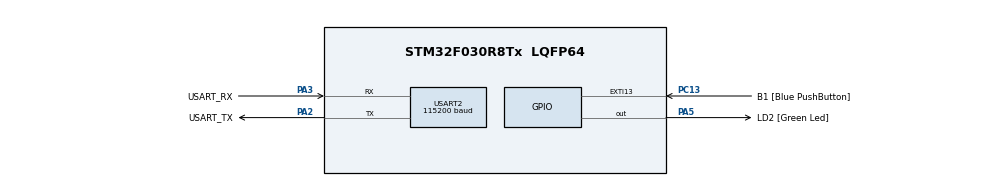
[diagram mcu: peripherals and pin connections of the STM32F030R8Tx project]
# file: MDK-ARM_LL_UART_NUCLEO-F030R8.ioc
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Mcu.Family=STM32F0
Mcu.Name=STM32F030R8Tx
Mcu.Package=LQFP64
NVIC.USART2_IRQn=true\:0\:0\:false\:false\:true\:true\:true
PA13.GPIO_Label=TMS
PA13.Mode=Serial_Wire
PA13.Signal=SYS_SWDIO
PA14.GPIO_Label=TCK
PA14.Mode=Serial_Wire
PA14.Signal=SYS_SWCLK
PA2.GPIO_Label=USART_TX
PA2.GPIO_Mode=GPIO_MODE_AF_PP
PA2.GPIO_PuPd=GPIO_NOPULL
PA2.GPIO_Speed=GPIO_SPEED_FREQ_LOW
PA2.Mode=Asynchronous
PA2.Signal=USART2_TX
PA3.GPIO_Label=USART_RX
PA3.GPIO_Mode=GPIO_MODE_AF_PP
PA3.GPIO_PuPd=GPIO_NOPULL
PA3.GPIO_Speed=GPIO_SPEED_FREQ_LOW
PA3.Mode=Asynchronous
PA3.Signal=USART2_RX
PA5.GPIO_Label=LD2 [Green Led]
PA5.GPIO_Mode=GPIO_MODE_OUTPUT_PP
PA5.GPIO_PuPd=GPIO_NOPULL
PA5.GPIO_Speed=GPIO_SPEED_FREQ_LOW
PA5.Signal=GPIO_Output
PC13.GPIO_Label=B1 [Blue PushButton]
PC13.GPIO_ModeDefaultEXTI=GPIO_MODE_IT_FALLING
PC13.Signal=GPXTI13
PC14-OSC32_IN.Mode=LSE-External-Oscillator
PC14-OSC32_IN.Signal=RCC_OSC32_IN
PC15-OSC32_OUT.Mode=LSE-External-Oscillator
PC15-OSC32_OUT.Signal=RCC_OSC32_OUT
PF0-OSC_IN.Mode=HSE-External-Clock-Source
PF0-OSC_IN.Signal=RCC_OSC_IN
PF1-OSC_OUT.Signal=RCC_OSC_OUT
ProjectManager.HeapSize=0x200
ProjectManager.StackSize=0x400
ProjectManager.TargetToolchain=MDK-ARM V5.27
RCC.AHBFreq_Value=48000000
RCC.APB1Freq_Value=48000000
RCC.APB1TimFreq_Value=48000000
RCC.HCLKFreq_Value=48000000
RCC.PLLMUL=RCC_PLL_MUL12
RCC.SYSCLKFreq_VALUE=48000000
RCC.SYSCLKSource=RCC_SYSCLKSOURCE_PLLCLK
USART2.BaudRate=115200
USART2.VirtualMode-Asynchronous=VM_ASYNC
board=NUCLEO-F030R8

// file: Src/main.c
/* USER CODE BEGIN Header */
/**
  ******************************************************************************
  * @file           : main.c
  * @brief          : Main program body
  ******************************************************************************
  * @attention
  *
  * <h2><center>&copy; Copyright (c) 2020 STMicroelectronics.
  * All rights reserved.</center></h2>
  *
  * This software component is licensed by ST under BSD 3-Clause license,
  * the "License"; You may not use this file except in compliance with the
  * License. You may obtain a copy of the License at:
  *                        opensource.org/licenses/BSD-3-Clause
  *
  ******************************************************************************
  */
/* USER CODE END Header */

#include "main.h"

/* USER CODE BEGIN Includes */
#include "trice.h"
/* USER CODE END Includes */

void SystemClock_Config(void);
static void MX_GPIO_Init(void);
static void MX_USART2_UART_Init(void);

int main(void)
{
  /* USER CODE BEGIN 1 */
#ifdef ENCRYPT
    InitXteaTable();
#endif
  /* USER CODE END 1 */

  /* MCU Configuration--------------------------------------------------------*/

  /* Reset of all peripherals, Initializes the Flash interface and the Systick. */

  LL_APB1_GRP2_EnableClock(LL_APB1_GRP2_PERIPH_SYSCFG);
  LL_APB1_GRP1_EnableClock(LL_APB1_GRP1_PERIPH_PWR);

  /* System interrupt init*/

  /* Configure the system clock */
  SystemClock_Config();

  /* USER CODE BEGIN SysInit */
    SysTick->CTRL |= SysTick_CTRL_TICKINT_Msk; // enable SysTick interrupt
  /* USER CODE END SysInit */

  /* Initialize all configured peripherals */
  MX_GPIO_Init();
  MX_USART2_UART_Init();
  /* USER CODE BEGIN 2 */
    LL_USART_EnableIT_RXNE(USART2); // enable UART2 interrupt
  /* USER CODE END 2 */

  /* Infinite loop */
  /* USER CODE BEGIN WHILE */
    TRICE16_1( Id(65439), "TIM:timing      message, SysTick is %6d\n", SYSTICKVAL16 );
    TRICE0( Id(17147), "att:MDK-ARM_LL_UART_NUCLEO-F030R8\n" );
    TRICE16_1( Id(65439), "TIM:timing      message, SysTick is %6d\n", SYSTICKVAL16 );
    TRICE16_1( Id(65439), "TIM:timing      message, SysTick is %6d\n", SYSTICKVAL16 );
    TRICE16_1( Id(65439), "TIM:timing      message, SysTick is %6d\n", SYSTICKVAL16 );
    TRICE16_1( Id(65439), "TIM:timing      message, SysTick is %6d\n", SYSTICKVAL16 );
    while (1)
    {
      //////////////////////////////////////////////////
      // demo trices
      //
      static uint32_t ms_1 = 0;
      if( ms >= ms_1 + 1000 ){ // every sec
          static int index = 0;
          triceCheckSet(index++%20);
          TRICE32_1( Id(25382), "time:ms = %d\n", ms );
          LL_GPIO_TogglePin(LD2_GPIO_Port, LD2_Pin);
          ms_1 = ms;
      }
      //
      //////////////////////////////////////////////////

      //////////////////////////////////////////////////
      // needed background activity
      //
        #ifdef LL_INTERFACE_NO_INTERRUPTS
        triceServe();
        #endif
      //
      //////////////////////////////////////////////////
    /* USER CODE END WHILE */

  }
}

void SystemClock_Config(void)
{
  LL_FLASH_SetLatency(LL_FLASH_LATENCY_1);

  if(LL_FLASH_GetLatency() != LL_FLASH_LATENCY_1)
  {
  Error_Handler();
  }
  LL_RCC_HSI_Enable();

   /* Wait till HSI is ready */
  while(LL_RCC_HSI_IsReady() != 1)
  {

  }
  LL_RCC_HSI_SetCalibTrimming(16);
  LL_RCC_PLL_ConfigDomain_SYS(LL_RCC_PLLSOURCE_HSI_DIV_2, LL_RCC_PLL_MUL_12);
  LL_RCC_PLL_Enable();

   /* Wait till PLL is ready */
  while(LL_RCC_PLL_IsReady() != 1)
  {

  }
  LL_RCC_SetAHBPrescaler(LL_RCC_SYSCLK_DIV_1);
  LL_RCC_SetAPB1Prescaler(LL_RCC_APB1_DIV_1);
  LL_RCC_SetSysClkSource(LL_RCC_SYS_CLKSOURCE_PLL);

   /* Wait till System clock is ready */
  while(LL_RCC_GetSysClkSource() != LL_RCC_SYS_CLKSOURCE_STATUS_PLL)
  {

  }
  LL_Init1msTick(48000000);
  LL_SetSystemCoreClock(48000000);
}

static void MX_USART2_UART_Init(void)
{

  LL_USART_InitTypeDef USART_InitStruct = {0};

  LL_GPIO_InitTypeDef GPIO_InitStruct = {0};

  /* Peripheral clock enable */
  LL_APB1_GRP1_EnableClock(LL_APB1_GRP1_PERIPH_USART2);

  LL_AHB1_GRP1_EnableClock(LL_AHB1_GRP1_PERIPH_GPIOA);
  /**USART2 GPIO Configuration
  PA2   ------> USART2_TX
  PA3   ------> USART2_RX
  */
  GPIO_InitStruct.Pin = USART_TX_Pin;
  GPIO_InitStruct.Mode = LL_GPIO_MODE_ALTERNATE;
  GPIO_InitStruct.Speed = LL_GPIO_SPEED_FREQ_LOW;
  GPIO_InitStruct.OutputType = LL_GPIO_OUTPUT_PUSHPULL;
  GPIO_InitStruct.Pull = LL_GPIO_PULL_NO;
  GPIO_InitStruct.Alternate = LL_GPIO_AF_1;
  LL_GPIO_Init(USART_TX_GPIO_Port, &GPIO_InitStruct);

  GPIO_InitStruct.Pin = USART_RX_Pin;
  GPIO_InitStruct.Mode = LL_GPIO_MODE_ALTERNATE;
  GPIO_InitStruct.Speed = LL_GPIO_SPEED_FREQ_LOW;
  GPIO_InitStruct.OutputType = LL_GPIO_OUTPUT_PUSHPULL;
  GPIO_InitStruct.Pull = LL_GPIO_PULL_NO;
  GPIO_InitStruct.Alternate = LL_GPIO_AF_1;
  LL_GPIO_Init(USART_RX_GPIO_Port, &GPIO_InitStruct);

  /* USART2 interrupt Init */
  NVIC_SetPriority(USART2_IRQn, 0);
  NVIC_EnableIRQ(USART2_IRQn);

  USART_InitStruct.BaudRate = 115200;
  USART_InitStruct.DataWidth = LL_USART_DATAWIDTH_8B;
  USART_InitStruct.StopBits = LL_USART_STOPBITS_1;
  USART_InitStruct.Parity = LL_USART_PARITY_NONE;
  USART_InitStruct.TransferDirection = LL_USART_DIRECTION_TX_RX;
  USART_InitStruct.HardwareFlowControl = LL_USART_HWCONTROL_NONE;
  USART_InitStruct.OverSampling = LL_USART_OVERSAMPLING_16;
  LL_USART_Init(USART2, &USART_InitStruct);
  LL_USART_DisableIT_CTS(USART2);
  LL_USART_ConfigAsyncMode(USART2);
  LL_USART_Enable(USART2);

}

static void MX_GPIO_Init(void)
{
  LL_EXTI_InitTypeDef EXTI_InitStruct = {0};
  LL_GPIO_InitTypeDef GPIO_InitStruct = {0};

  /* GPIO Ports Clock Enable */
  LL_AHB1_GRP1_EnableClock(LL_AHB1_GRP1_PERIPH_GPIOC);
  LL_AHB1_GRP1_EnableClock(LL_AHB1_GRP1_PERIPH_GPIOF);
  LL_AHB1_GRP1_EnableClock(LL_AHB1_GRP1_PERIPH_GPIOA);

  /**/
  LL_GPIO_ResetOutputPin(LD2_GPIO_Port, LD2_Pin);

  /**/
  LL_SYSCFG_SetEXTISource(LL_SYSCFG_EXTI_PORTC, LL_SYSCFG_EXTI_LINE13);

  /**/
  LL_GPIO_SetPinPull(B1_GPIO_Port, B1_Pin, LL_GPIO_PULL_NO);

  /**/
  LL_GPIO_SetPinMode(B1_GPIO_Port, B1_Pin, LL_GPIO_MODE_INPUT);

  /**/
  EXTI_InitStruct.Line_0_31 = LL_EXTI_LINE_13;
  EXTI_InitStruct.LineCommand = ENABLE;
  EXTI_InitStruct.Mode = LL_EXTI_MODE_IT;
  EXTI_InitStruct.Trigger = LL_EXTI_TRIGGER_FALLING;
  LL_EXTI_Init(&EXTI_InitStruct);

  /**/
  GPIO_InitStruct.Pin = LD2_Pin;
  GPIO_InitStruct.Mode = LL_GPIO_MODE_OUTPUT;
  GPIO_InitStruct.Speed = LL_GPIO_SPEED_FREQ_LOW;
  GPIO_InitStruct.OutputType = LL_GPIO_OUTPUT_PUSHPULL;
  GPIO_InitStruct.Pull = LL_GPIO_PULL_NO;
  LL_GPIO_Init(LD2_GPIO_Port, &GPIO_InitStruct);

}

void Error_Handler(void)
{
}

/************************ (C) COPYRIGHT STMicroelectronics *****END OF FILE****/
